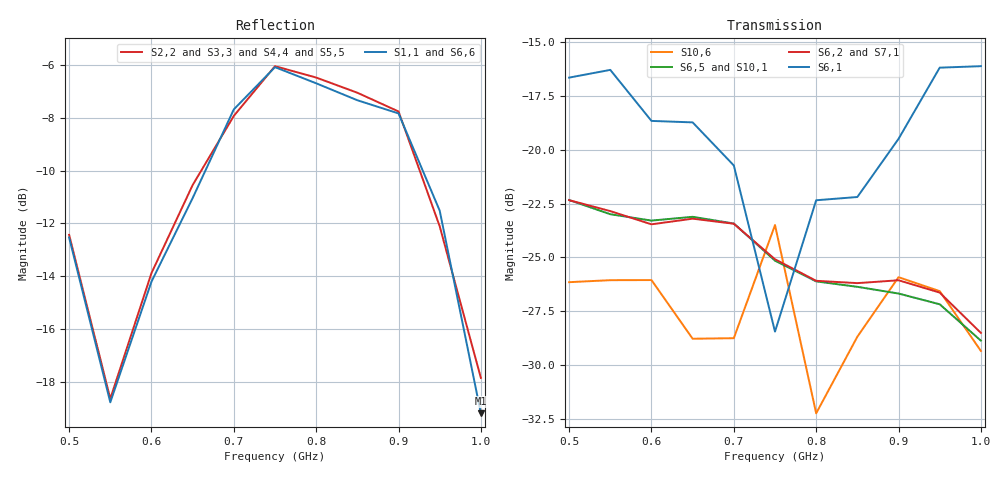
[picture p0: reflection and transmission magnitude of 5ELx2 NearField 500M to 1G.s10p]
! Touchstone file exported from HFSS 2019.3.0
!  File:  D:/5ELx2 NearField.aedt
!  Generated:  9:03:23 AM  Dec 09, 2019
!  Design:  HFSSDesign1
!  Project:  5ELx2 NearField
!  Setup:  500Mto1G
!  Solution:  Sweep
# GHZ S RI R 50.000000
! Modal data exported
! Port[1] = 1:1
! Port[2] = 2:1
! Port[3] = 3:1
! Port[4] = 4:1
! Port[5] = 5:1
! Port[6] = 6:1
! Port[7] = 7:1
! Port[8] = 8:1
! Port[9] = 9:1
! Port[10] = 10:1
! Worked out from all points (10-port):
!   11 points, 500 MHz to 1 GHz, reference 50 ohm
!   strongest paths, dB at 500 MHz, 600 MHz, 750 MHz, 900 MHz, 1 GHz:
!     S6,1: -16.7, -18.7, -28.4, -19.5, -16.1
!     S6,2: -22.3, -23.5, -25.1, -26.1, -28.5
!     S6,5: -22.3, -23.3, -25.2, -26.7, -28.9
!     S7,1: -22.3, -23.6, -25.4, -26.5, -28.7
!     S10,1: -22.2, -23.2, -25.5, -26.9, -28.6
!     S10,6: -26.2, -26.1, -23.5, -25.9, -29.3
!   lowest |S11| = -19.2 dB at 1 GHz (marker M1), VSWR 1.25, Z = 51.6 - j11.1 ohm
!   |S11| at or under -10 dB: start of sweep to 665.5 MHz; 929.4 MHz to end of sweep
